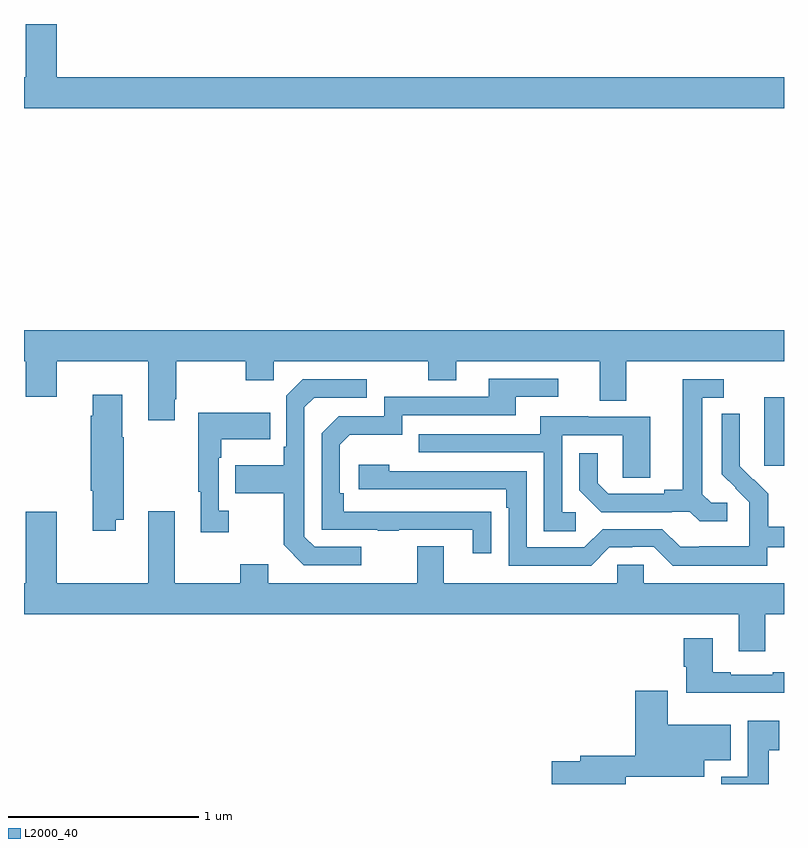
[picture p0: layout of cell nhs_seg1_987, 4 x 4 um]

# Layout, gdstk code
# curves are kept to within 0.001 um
import gdstk
lib = gdstk.Library(unit=1e-6, precision=1e-09)
def R(c, l, rs):  # rectangles x0, y0, x1, y1
    for r in rs: c.add(gdstk.rectangle(r[:2], r[2:], *l))
def P(c, l, *ps):  # polygons
    for p in ps: c.add(gdstk.Polygon(p, *l))
L2000_40 = (2000, 40)

nhs_seg1_987 = lib.new_cell('nhs_seg1_987')
R(nhs_seg1_987, L2000_40, [(168.896,525.873,169,526.234)])
P(nhs_seg1_987, L2000_40, [(169,527.92),(165.172,527.92),(165.172,528.199),(165.008,528.199),(165.008,527.92),(165,527.92),(165,527.756),(169,527.756)],
  [(165,526.424),(165.008,526.424),(165.008,526.236),(165.172,526.236),(165.172,526.424),(165.653,526.424),(165.653,526.113),(165.793,526.113),(165.793,526.225),(165.801,526.225),(165.801,526.424),(166.168,526.424),(166.168,526.325),(166.314,526.325),(166.314,526.424),(167.128,526.424),(167.128,526.325),(167.275,526.325),(167.275,526.424),(168.029,526.424),(168.029,526.216),(168.169,526.216),(168.169,526.424),(169,526.424),(169,526.588),(165,526.588)],
  [(167.459,525.632),(166.682,525.633),(166.682,525.73),(166.662,525.73),(166.662,525.984),(166.715,526.037),(166.992,526.037),(166.992,526.14),(167.587,526.14),(167.587,526.236),(167.812,526.236),(167.812,526.332),(167.447,526.332),(167.447,526.236),(166.896,526.236),(166.896,526.134),(166.656,526.134),(166.566,526.044),(166.566,525.537),(166.861,525.537),(166.861,525.532),(166.973,525.532),(166.973,525.537),(167.363,525.537),(167.363,525.414),(167.459,525.414)],
  [(168.7,525.678),(168.618,525.678),(168.571,525.725),(168.571,526.233),(168.682,526.233),(168.682,526.329),(168.467,526.329),(168.467,525.749),(168.371,525.749),(168.371,525.726),(168.076,525.726),(168.019,525.783),(168.019,525.94),(167.922,525.94),(167.922,525.746),(168.038,525.63),(168.41,525.63),(168.41,525.633),(168.504,525.633),(168.556,525.581),(168.7,525.581)],
  [(166.774,525.447),(166.53,525.447),(166.476,525.501),(166.476,526.182),(166.527,526.233),(166.804,526.233),(166.804,526.329),(166.467,526.329),(166.38,526.242),(166.38,525.973),(166.368,525.973),(166.368,525.877),(166.111,525.877),(166.111,525.73),(166.368,525.73),(166.368,525.457),(166.473,525.351),(166.774,525.351)],
  [(165.484,525.59),(165.525,525.59),(165.525,526.025),(165.517,526.025),(165.517,526.249),(165.362,526.249),(165.362,526.136),(165.35,526.136),(165.35,525.743),(165.362,525.743),(165.362,525.531),(165.484,525.531)],
  [(166.078,525.638),(166.026,525.638),(166.026,525.917),(166.039,525.917),(166.039,526.013),(166.295,526.013),(166.295,526.153),(165.918,526.153),(165.918,525.737),(165.929,525.737),(165.929,525.525),(166.078,525.525)],
  [(168.912,525.444),(169,525.444),(169,525.553),(168.917,525.553),(168.917,525.727),(168.84,525.804),(168.837,525.801),(168.767,525.872),(168.768,526.148),(168.672,526.148),(168.672,525.83),(168.818,525.682),(168.818,525.585),(168.816,525.585),(168.816,525.451),(168.553,525.451),(168.553,525.447),(168.453,525.447),(168.36,525.54),(168.045,525.54),(167.949,525.444),(167.646,525.444),(167.646,525.846),(166.922,525.846),(166.922,525.88),(166.761,525.88),(166.761,525.75),(167.537,525.75),(167.537,525.653),(167.55,525.653),(167.55,525.348),(167.985,525.348),(168.081,525.444),(168.2,525.444),(168.2,525.447),(168.315,525.447),(168.415,525.347),(168.912,525.347)],
  [(167.905,525.63),(167.832,525.63),(167.832,526.035),(168.15,526.035),(168.15,525.811),(168.295,525.811),(168.295,526.131),(167.971,526.131),(167.971,526.135),(167.717,526.135),(167.717,526.041),(167.077,526.041),(167.077,525.945),(167.736,525.945),(167.736,525.529),(167.905,525.529)],
  [(168.901,525.092),(169,525.092),(169,525.256),(168.261,525.256),(168.261,525.354),(168.123,525.354),(168.123,525.256),(167.209,525.256),(167.209,525.451),(167.069,525.451),(167.069,525.256),(166.285,525.256),(166.285,525.355),(166.138,525.355),(166.138,525.256),(165.793,525.256),(165.793,525.634),(165.653,525.634),(165.653,525.256),(165.172,525.256),(165.172,525.631),(165.008,525.631),(165.008,525.256),(165,525.256),(165,525.092),(168.761,525.092),(168.761,524.898),(168.901,524.898)],
  [(169,524.788),(168.941,524.788),(168.941,524.775),(168.721,524.775),(168.721,524.788),(168.625,524.788),(168.625,524.965),(168.473,524.965),(168.473,524.817),(168.485,524.817),(168.485,524.678),(169,524.678)],
  [(168.166,524.237),(168.58,524.237),(168.58,524.324),(168.721,524.324),(168.721,524.512),(168.388,524.512),(168.388,524.689),(168.218,524.689),(168.218,524.348),(167.927,524.348),(167.927,524.318),(167.778,524.318),(167.778,524.199),(168.166,524.199)],
  [(168.919,524.377),(168.976,524.377),(168.976,524.533),(168.809,524.533),(168.809,524.236),(168.67,524.236),(168.67,524.199),(168.919,524.199)])

lib.write_gds('nhs_seg1_987.gds')
